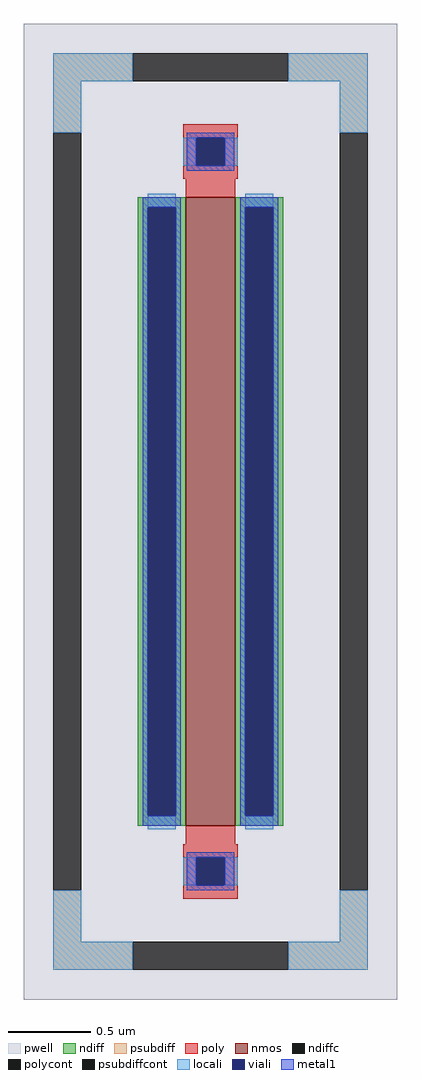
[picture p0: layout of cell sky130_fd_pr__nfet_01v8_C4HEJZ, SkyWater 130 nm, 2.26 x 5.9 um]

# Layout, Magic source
magic
tech sky130A
magscale 1 2
<< pwell >>
rect -226 -590 226 590
<< nmos >>
rect -30 -380 30 380
<< ndiff >>
rect -88 368 -30 380
rect -88 -368 -76 368
rect -42 -368 -30 368
rect -88 -380 -30 -368
rect 30 368 88 380
rect 30 -368 42 368
rect 76 -368 88 368
rect 30 -380 88 -368
<< ndiffc >>
rect -76 -368 -42 368
rect 42 -368 76 368
<< psubdiff >>
rect -190 520 -94 554
rect 94 520 190 554
rect -190 458 -156 520
rect 156 458 190 520
rect -190 -520 -156 -458
rect 156 -520 190 -458
rect -190 -554 -94 -520
rect 94 -554 190 -520
<< psubdiffcont >>
rect -94 520 94 554
rect -190 -458 -156 458
rect 156 -458 190 458
rect -94 -554 94 -520
<< poly >>
rect -33 452 33 468
rect -33 418 -17 452
rect 17 418 33 452
rect -33 402 33 418
rect -30 380 30 402
rect -30 -402 30 -380
rect -33 -418 33 -402
rect -33 -452 -17 -418
rect 17 -452 33 -418
rect -33 -468 33 -452
<< polycont >>
rect -17 418 17 452
rect -17 -452 17 -418
<< locali >>
rect -190 520 -94 554
rect 94 520 190 554
rect -190 458 -156 520
rect 156 458 190 520
rect -33 418 -17 452
rect 17 418 33 452
rect -76 368 -42 384
rect -76 -384 -42 -368
rect 42 368 76 384
rect 42 -384 76 -368
rect -33 -452 -17 -418
rect 17 -452 33 -418
rect -190 -520 -156 -458
rect 156 -520 190 -458
rect -190 -554 -94 -520
rect 94 -554 190 -520
<< viali >>
rect -17 418 17 452
rect -76 -368 -42 368
rect 42 -368 76 368
rect -17 -452 17 -418
<< metal1 >>
rect -29 452 29 458
rect -29 418 -17 452
rect 17 418 29 452
rect -29 412 29 418
rect -82 368 -36 380
rect -82 -368 -76 368
rect -42 -368 -36 368
rect -82 -380 -36 -368
rect 36 368 82 380
rect 36 -368 42 368
rect 76 -368 82 368
rect 36 -380 82 -368
rect -29 -418 29 -412
rect -29 -452 -17 -418
rect 17 -452 29 -418
rect -29 -458 29 -452
<< properties >>
string FIXED_BBOX -173 -537 173 537
string gencell sky130_fd_pr__nfet_01v8
string library sky130
string parameters w 3.8 l 0.3 m 1 nf 1 diffcov 100 polycov 100 guard 1 glc 1 grc 1 gtc 1 gbc 1 tbcov 100 rlcov 100 topc 1 botc 1 poverlap 0 doverlap 1 lmin 0.15 wmin 0.42 compatible {sky130_fd_pr__nfet_01v8 sky130_fd_pr__nfet_01v8_lvt  sky130_fd_bs_flash__special_sonosfet_star  sky130_fd_pr__nfet_g5v0d10v5 sky130_fd_pr__nfet_05v0_nvt  sky130_fd_pr__nfet_03v3_nvt} full_metal 1 viasrc 100 viadrn 100 viagate 100 viagb 0 viagr 0 viagl 0 viagt 0
<< end >>
